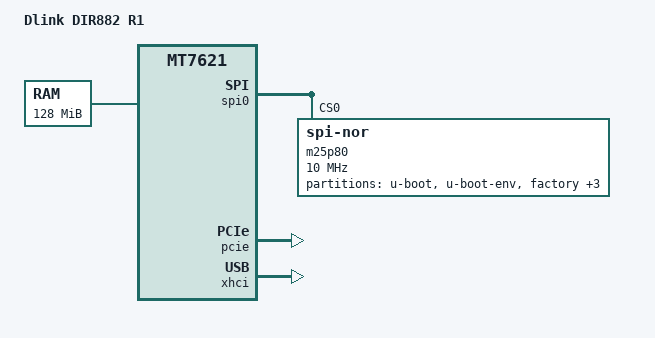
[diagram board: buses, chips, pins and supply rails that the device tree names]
/dts-v1/;

#include "mt7621.dtsi"

/ {
	compatible = "ralink,mt7621-eval-board", "ralink,mt7621-soc";
	model = "Dlink DIR882 R1";

	memory@0 {
		device_type = "memory";
		reg = <0x0 0x8000000>;
	};
	
	chosen {
		bootargs = "console=ttyS0,57600";
	};

};

&spi0 {
	status = "okay";
	m25p80@0 {
		compatible = "jedec,spi-nor";
		reg = <0>;
		spi-max-frequency = <10000000>;

		partitions {
			compatible = "fixed-partitions";
			#address-cells = <1>;
			#size-cells = <1>;

			partition@0 {
				label = "u-boot";
				reg = <0x0 0x30000>;
			};

			partition@30000 {
				label = "u-boot-env";
				reg = <0x30000 0x4000>;
			};

			factory: partition@40000 {
				label = "factory";
				reg = <0x40000 0x20000>;
			};
			partition@60000 {
				compatible = "denx,uimage";
				label = "linux";
				reg = <0x60000 0xfa0000>;
			};

			partition@ff00000 {
				label = "nvram";
				reg = <0xff0000 0x10000>;
			};
			partition@0000000 {
				label = "fullflash";
				reg = <0x000000 0x1000000>;
			};

		};
	};
};


&pcie {
	status = "okay";
};

&pcie1 {
	mt76@0,0 {
		reg = <0x0000 0 0 0 0>;
		mediatek,file = "/etc/wlan/MT7615_5G_EEPROM.bin";
		mtd-mac-address = <&factory 0x8004>;
		mediatek,disable_2ghz = <1>;
		ieee80211-freq-limit = <5000000 6000000>;
	};
};

&pcie0 {
	mt76@0,0 {
		reg = <0x0000 0 0 0 0>;
		mediatek,file = "/etc/wlan/MT7615_2G_EEPROM.bin";
		mtd-mac-address = <&factory 0x4>;
		mediatek,disable_5ghz = <1>;
		ieee80211-freq-limit = <2400000 2500000>;
	};
};

&pinctrl {
	state_default: pinctrl0 {
		gpio {
			ralink,group = "i2c", "uart2", "uart3", "rgmii2", "sdhci";
			ralink,function = "gpio";
		};
	};
};

&xhci {
	status = "okay";
};

